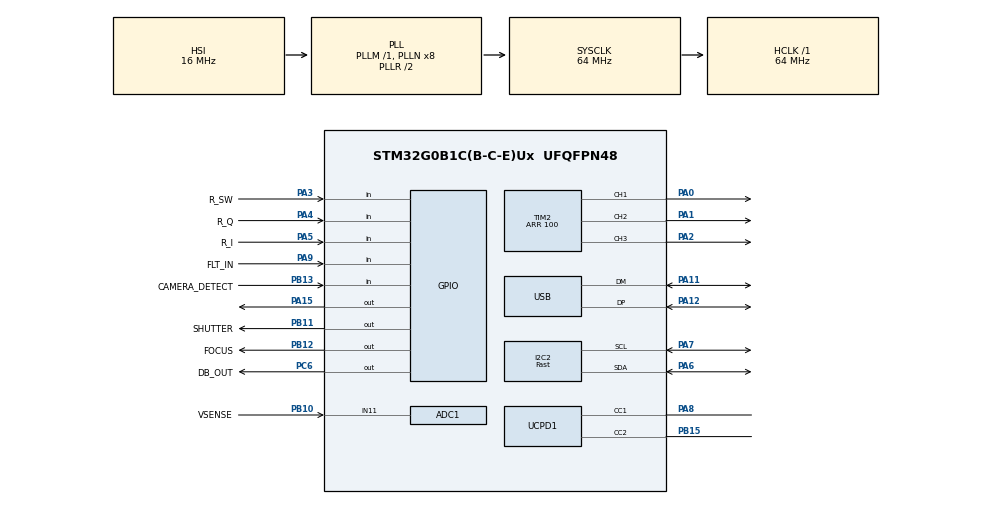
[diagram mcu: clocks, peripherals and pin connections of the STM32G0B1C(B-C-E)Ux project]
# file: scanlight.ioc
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ADC1.Channel-10\#ChannelRegularConversion=ADC_CHANNEL_11
ADC1.ClockPrescaler=ADC_CLOCK_SYNC_PCLK_DIV4
ADC1.ContinuousConvMode=ENABLE
ADC1.NbrOfConversionFlag=1
ADC1.Overrun=ADC_OVR_DATA_OVERWRITTEN
ADC1.Rank-10\#ChannelRegularConversion=1
ADC1.SamplingTime-10\#ChannelRegularConversion=ADC_SAMPLINGTIME_COMMON_1
ADC1.SamplingTimeCommon1=ADC_SAMPLETIME_160CYCLES_5
ADC1.SamplingTimeCommon2=ADC_SAMPLETIME_160CYCLES_5
ADC1.SelectedChannel=ADC_CHANNEL_11
ADC1.master=1
Dma.I2C2_TX.2.Direction=DMA_MEMORY_TO_PERIPH
Dma.I2C2_TX.2.EventEnable=DISABLE
Dma.I2C2_TX.2.Instance=DMA1_Channel3
Dma.I2C2_TX.2.MemDataAlignment=DMA_MDATAALIGN_BYTE
Dma.I2C2_TX.2.MemInc=DMA_MINC_ENABLE
Dma.I2C2_TX.2.Mode=DMA_NORMAL
Dma.I2C2_TX.2.PeriphDataAlignment=DMA_PDATAALIGN_BYTE
Dma.I2C2_TX.2.PeriphInc=DMA_PINC_DISABLE
Dma.I2C2_TX.2.Polarity=HAL_DMAMUX_REQ_GEN_RISING
Dma.I2C2_TX.2.Priority=DMA_PRIORITY_MEDIUM
Dma.I2C2_TX.2.RequestNumber=1
Dma.I2C2_TX.2.SignalID=NONE
Dma.I2C2_TX.2.SyncEnable=DISABLE
Dma.I2C2_TX.2.SyncPolarity=HAL_DMAMUX_SYNC_NO_EVENT
Dma.I2C2_TX.2.SyncRequestNumber=1
Dma.I2C2_TX.2.SyncSignalID=NONE
Dma.Request0=UCPD1_RX
Dma.Request1=UCPD1_TX
Dma.Request2=I2C2_TX
Dma.UCPD1_RX.0.Direction=DMA_PERIPH_TO_MEMORY
Dma.UCPD1_RX.0.EventEnable=DISABLE
Dma.UCPD1_RX.0.Instance=DMA1_Channel1
Dma.UCPD1_RX.0.MemDataAlignment=DMA_MDATAALIGN_BYTE
Dma.UCPD1_RX.0.MemInc=DMA_MINC_ENABLE
Dma.UCPD1_RX.0.Mode=DMA_NORMAL
Dma.UCPD1_RX.0.PeriphDataAlignment=DMA_PDATAALIGN_BYTE
Dma.UCPD1_RX.0.PeriphInc=DMA_PINC_DISABLE
Dma.UCPD1_RX.0.Polarity=HAL_DMAMUX_REQ_GEN_RISING
Dma.UCPD1_RX.0.Priority=DMA_PRIORITY_LOW
Dma.UCPD1_RX.0.RequestNumber=1
Dma.UCPD1_RX.0.SignalID=NONE
Dma.UCPD1_RX.0.SyncEnable=DISABLE
Dma.UCPD1_RX.0.SyncPolarity=HAL_DMAMUX_SYNC_NO_EVENT
Dma.UCPD1_RX.0.SyncRequestNumber=1
Dma.UCPD1_RX.0.SyncSignalID=NONE
Dma.UCPD1_TX.1.Direction=DMA_MEMORY_TO_PERIPH
Dma.UCPD1_TX.1.EventEnable=DISABLE
Dma.UCPD1_TX.1.Instance=DMA1_Channel2
Dma.UCPD1_TX.1.MemDataAlignment=DMA_MDATAALIGN_BYTE
Dma.UCPD1_TX.1.MemInc=DMA_MINC_ENABLE
Dma.UCPD1_TX.1.Mode=DMA_NORMAL
Dma.UCPD1_TX.1.PeriphDataAlignment=DMA_PDATAALIGN_BYTE
Dma.UCPD1_TX.1.PeriphInc=DMA_PINC_DISABLE
Dma.UCPD1_TX.1.Polarity=HAL_DMAMUX_REQ_GEN_RISING
Dma.UCPD1_TX.1.Priority=DMA_PRIORITY_LOW
Dma.UCPD1_TX.1.RequestNumber=1
Dma.UCPD1_TX.1.SignalID=NONE
Dma.UCPD1_TX.1.SyncEnable=DISABLE
Dma.UCPD1_TX.1.SyncPolarity=HAL_DMAMUX_SYNC_NO_EVENT
Dma.UCPD1_TX.1.SyncRequestNumber=1
Dma.UCPD1_TX.1.SyncSignalID=NONE
FREERTOS.Tasks01=defaultTask,24,128,StartDefaultTask,Default,NULL,Dynamic,NULL,NULL
FREERTOS.configTOTAL_HEAP_SIZE=7000
FREERTOS.configUSE_NEWLIB_REENTRANT=1
I2C2.I2C_Speed_Mode=I2C_Fast
I2C2.OwnAddress=0
I2C2.Timing=0x00C12166
IWDG.Prescaler=IWDG_PRESCALER_256
Mcu.Family=STM32G0
Mcu.Name=STM32G0B1C(B-C-E)Ux
Mcu.Package=UFQFPN48
Mcu.UserConstants=VDDA_APPLI,3300
NVIC.DMA1_Channel1_IRQn=true\:3\:0\:false\:false\:true\:true\:false\:true\:true
NVIC.DMA1_Channel2_3_IRQn=true\:3\:0\:false\:false\:true\:true\:false\:true\:true
NVIC.FLASH_IRQn=true\:3\:0\:false\:false\:true\:false\:true\:true\:true
NVIC.I2C2_3_IRQn=true\:3\:0\:false\:false\:true\:true\:true\:true\:true
NVIC.TIM3_TIM4_IRQn=true\:3\:0\:false\:false\:true\:false\:false\:true\:true
NVIC.TimeBase=TIM3_TIM4_IRQn
NVIC.TimeBaseIP=TIM3
NVIC.USB_UCPD1_2_IRQn=true\:3\:0\:false\:false\:true\:true\:true\:true\:true
PA0.Signal=S_TIM2_CH1_ETR
PA1.Signal=S_TIM2_CH2
PA11\ [PA9].Mode=Device
PA11\ [PA9].Signal=USB_DM
PA12\ [PA10].Mode=Device
PA12\ [PA10].Signal=USB_DP
PA13.Mode=Serial_Wire
PA13.Signal=SYS_SWDIO
PA14-BOOT0.Mode=Serial_Wire
PA14-BOOT0.Signal=SYS_SWCLK
PA15.Signal=GPIO_Output
PA2.Signal=S_TIM2_CH3
PA3.GPIO_Label=R_SW
PA3.GPIO_PuPd=GPIO_PULLUP
PA3.Signal=GPIO_Input
PA4.GPIO_Label=R_Q
PA4.GPIO_PuPd=GPIO_PULLUP
PA4.Signal=GPIO_Input
PA5.GPIO_Label=R_I
PA5.GPIO_Mode=GPIO_MODE_INPUT
PA5.GPIO_PuPd=GPIO_PULLUP
PA5.Signal=GPIO_Input
PA6.GPIO_Pu=GPIO_PULLUP
PA6.Mode=I2C
PA6.Signal=I2C2_SDA
PA7.GPIO_Pu=GPIO_PULLUP
PA7.Mode=I2C
PA7.Signal=I2C2_SCL
PA8.Mode=Sink_AllSignals
PA8.Signal=UCPD1_CC1
PA9.GPIO_Label=FLT_IN
PA9.Signal=GPIO_Input
PB10.GPIO_Label=VSENSE
PB10.Mode=IN11
PB10.Signal=ADC1_IN11
PB11.GPIO_Label=SHUTTER
PB11.Signal=GPIO_Output
PB12.GPIO_Label=FOCUS
PB12.Signal=GPIO_Output
PB13.GPIO_Label=CAMERA_DETECT
PB13.Signal=GPIO_Input
PB15.Mode=Sink_AllSignals
PB15.Signal=UCPD1_CC2
PC6.GPIO_Label=DB_OUT
PC6.PinState=GPIO_PIN_RESET
PC6.Signal=GPIO_Output
ProjectManager.HeapSize=0xC00
ProjectManager.StackSize=0x400
ProjectManager.TargetToolchain=STM32CubeIDE
RCC.ADCFreq_Value=64000000
RCC.AHBFreq_Value=64000000
RCC.CortexFreq_Value=64000000
RCC.EXTERNAL_CLOCK_VALUE=48000
RCC.HCLKFreq_Value=64000000
RCC.HSE_VALUE=8000000
RCC.HSI48_VALUE=48000000
RCC.HSI_VALUE=16000000
RCC.LSE_VALUE=32768
RCC.SYSCLKFreq_VALUE=64000000
RCC.SYSCLKSource=RCC_SYSCLKSOURCE_PLLCLK
RCC.USBFreq_Value=48000000
RCC.VCOOutputFreq_Value=128000000
SH.S_TIM2_CH1_ETR.0=TIM2_CH1,PWM Generation1 CH1
SH.S_TIM2_CH2.0=TIM2_CH2,PWM Generation2 CH2
SH.S_TIM2_CH3.0=TIM2_CH3,PWM Generation3 CH3
STMicroelectronics.X-CUBE-TCPP.4.2.0.BSP.number=3
STMicroelectronics.X-CUBE-TCPP.4.2.0.USBPDOoApplicationCcDeviceJjApplication=Sink
STMicroelectronics.X-CUBE-TCPP.4.2.0.tcpp01CcBoardOoPartJjtcpp01Jjtcpp01=true
STMicroelectronics.X-CUBE-TCPP.4.2.00.BSP.STBoard=false
STMicroelectronics.X-CUBE-TCPP.4.2.00.BSP.api=Unknown
STMicroelectronics.X-CUBE-TCPP.4.2.00.BSP.condition=( SEMtcpp01CcBoardOoPartJjtcpp01Jjtcpp01 ) & ( \! SEMXAaNUCLEOAaSNK1M1CcBoardOoSupportJjXAaNUCLEOAaSNK1M1JjCommon )
STMicroelectronics.X-CUBE-TCPP.4.2.00.BSP.instance=ADC1\:IN11
STMicroelectronics.X-CUBE-TCPP.4.2.00.BSP.ip=ADC
STMicroelectronics.X-CUBE-TCPP.4.2.00.BSP.mode=IN[0-9]+( Single-ended)?
STMicroelectronics.X-CUBE-TCPP.4.2.00.BSP.name=ADC VSENSE
STMicroelectronics.X-CUBE-TCPP.4.2.00.BSP.solution=ADC1\:IN11
STMicroelectronics.X-CUBE-TCPP.4.2.01.BSP.STBoard=false
STMicroelectronics.X-CUBE-TCPP.4.2.01.BSP.api=Unknown
STMicroelectronics.X-CUBE-TCPP.4.2.01.BSP.condition=( SEMtcpp01CcBoardOoPartJjtcpp01Jjtcpp01 ) & ( \! SEMXAaNUCLEOAaSNK1M1CcBoardOoSupportJjXAaNUCLEOAaSNK1M1JjCommon )
STMicroelectronics.X-CUBE-TCPP.4.2.01.BSP.instance=PC6
STMicroelectronics.X-CUBE-TCPP.4.2.01.BSP.ip=GPIO
STMicroelectronics.X-CUBE-TCPP.4.2.01.BSP.mode=Output
STMicroelectronics.X-CUBE-TCPP.4.2.01.BSP.name=TCPP01 DB OUT
STMicroelectronics.X-CUBE-TCPP.4.2.01.BSP.solution=PC6
STMicroelectronics.X-CUBE-TCPP.4.2.02.BSP.STBoard=false
STMicroelectronics.X-CUBE-TCPP.4.2.02.BSP.api=Unknown
STMicroelectronics.X-CUBE-TCPP.4.2.02.BSP.condition=( SEMtcpp01CcBoardOoPartJjtcpp01Jjtcpp01 ) & ( \! SEMXAaNUCLEOAaSNK1M1CcBoardOoSupportJjXAaNUCLEOAaSNK1M1JjCommon )
STMicroelectronics.X-CUBE-TCPP.4.2.02.BSP.instance=PA15
STMicroelectronics.X-CUBE-TCPP.4.2.02.BSP.ip=GPIO
STMicroelectronics.X-CUBE-TCPP.4.2.02.BSP.mode=Output
STMicroelectronics.X-CUBE-TCPP.4.2.02.BSP.name=TCPP01 VCC OUT
STMicroelectronics.X-CUBE-TCPP.4.2.02.BSP.solution=PA15
TIM2.Channel-PWM\ Generation1\ CH1=TIM_CHANNEL_1
TIM2.Channel-PWM\ Generation2\ CH2=TIM_CHANNEL_2
TIM2.Channel-PWM\ Generation3\ CH3=TIM_CHANNEL_3
TIM2.Period=100
USBPD.USBPD_PDO_FIXED_EXT_POWER_P0=VUSBPD_PDO_FIXED_EXT_POWER_NOT_SUPPORTED
USBPD.USBPD_PDO_FIXED_HIGHERCAPAB_P0=USBPD_PDO_SNK_FIXED_HIGHERCAPAB_NOT_SUPPORTED
USBPD.USBPD_PDO_FIXED_USBCOMM_P0=USBPD_PDO_FIXED_USBCOMM_SUPPORTED
USBPD.USBPD_PORT0_PDO_SNK_FIXED_SET_OP_CURRENT_0=1250
USBPD.USBPD_PORT0_PDO_SNK_FIXED_SET_VOLTAGE_0=20000
USBPD.USBPD_PORT0_PDO_SNK_NB=1
USB_DEVICE.CLASS_NAME_FS=CDC
USB_DEVICE.VirtualMode=Cdc
USB_DEVICE.VirtualModeFS=Cdc_FS
VP_CRC_VS_CRC.Mode=CRC_Activate
VP_FREERTOS_VS_CMSIS_V2.Mode=CMSIS_V2
VP_IWDG_VS_IWDG.Mode=IWDG_Activate
VP_STMicroelectronics.X-CUBE-TCPP_VS_BoardOoPartJjtcpp01_4.2.0_4.2.0.Mode=BoardOoPartJjtcpp01
VP_STMicroelectronics.X-CUBE-TCPP_VS_DeviceJjUSBPDOoApplication_4.2.0_4.2.0.Mode=DeviceJjUSBPDOoApplication
VP_SYS_VS_DBSignals.Mode=DisableDeadBatterySignals
VP_SYS_VS_tim3.Mode=TIM3
VP_TIM2_VS_ClockSourceINT.Mode=Internal
VP_USBPD_VS_PD3FULL.Mode=PD3_Full_Stack
VP_USBPD_VS_USBPD1.Mode=USBPD_P0
VP_USBPD_VS_usbpd_tim1.Mode=TIM1
VP_USBPD_VS_usbpd_usb_cohabitation.Mode=Enable USB Support
VP_USB_DEVICE_VS_USB_DEVICE_CDC_FS.Mode=CDC_FS
board=custom

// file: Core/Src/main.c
/* USER CODE BEGIN Header */
/**
 ******************************************************************************
 * @file           : main.c
 * @brief          : Main program body
 ******************************************************************************
 * @attention
 *
 * Copyright (c) 2025 STMicroelectronics.
 * All rights reserved.
 *
 * This software is licensed under terms that can be found in the LICENSE file
 * in the root directory of this software component.
 * If no LICENSE file comes with this software, it is provided AS-IS.
 *
 ******************************************************************************
 */
/* USER CODE END Header */
#include "main.h"
#include "cmsis_os.h"
#include "app_tcpp.h"
#include "usbpd.h"
#include "usb_device.h"

/* USER CODE BEGIN Includes */
#include "usbd_cdc_if.h"
#include <stdio.h>

// include custom defines before library to preserve overrides
#include "ssd1306_custom_defines.h"
#include "ssd1306.h"
#include "eeprom_emul.h"
#include "usbpd_pwr_user.h"

/* USER CODE END Includes */

/* USER CODE BEGIN PD */
#define DEBOUNCE_DELAY 2 // milliseconds
#define BUTTON_DEBOUNCE_MS 15
#define BOOTLOADER_ADDRESS 0x1FFF0000
#define BOOTLOADER_FLAG_VALUE 0xDEADBEEF
#define BOOTLOADER_BUTTON_HOLD_MS 1500U
#define USBPD_20V_LOCKOUT_ASSERT_MV 19000U
#define USBPD_20V_LOCKOUT_RELEASE_MV 19500U
#define CAMERA_DETECT_DEBOUNCE_MS 25U
#define CAMERA_DETECT_INSERTED_LEVEL GPIO_PIN_SET
#define PWM_TIMER_PERIOD 148U
#define PWM_INPUT_MAX 100U
#define LED_CTRL_MIN_MV 300U
#define LED_CTRL_MAX_MV 2500U
/* USER CODE END PD */

ADC_HandleTypeDef hadc1;

I2C_HandleTypeDef hi2c2;
DMA_HandleTypeDef hdma_i2c2_tx;

IWDG_HandleTypeDef hiwdg;

TIM_HandleTypeDef htim2;

/* Definitions for defaultTask */
osThreadId_t defaultTaskHandle;
const osThreadAttr_t defaultTask_attributes = {
  .name = "defaultTask",
  .priority = (osPriority_t) osPriorityNormal,
  .stack_size = 128 * 4
};
/* USER CODE BEGIN PV */
extern int _bflag; // boot flag
uint32_t *dfu_boot_flag;
typedef void (*pFunction)(void);
pFunction JumpToApplication;
uint32_t JumpAddress;

#define MAX_DISPLAY_TXT 20
char display_txt[MAX_DISPLAY_TXT];

// Rotary encoder vars
volatile uint8_t colors[3] = { 0, 0, 0 };
volatile uint8_t pwm[3] = { 0, 0, 0 };
/* Smallest period that provides unique PWM counts for UI 0..100 while
 * keeping 1..99 mapped across the 0.3V..2.5V analog dimming region.
 */
const uint8_t PWM_DUTY_LOOKUP[PWM_INPUT_MAX + 1] = { 0, 14, 15, 16, 17, 18, 19,
		20, 21, 22, 23, 24, 25, 26, 27, 28, 29, 30, 31, 32, 33, 34, 35, 36,
		37, 38, 39, 40, 41, 42, 43, 44, 45, 46, 47, 48, 49, 50, 51, 52, 53,
		54, 55, 56, 57, 58, 59, 60, 61, 62, 63, 64, 65, 66, 67, 68, 69, 70,
		71, 72, 73, 74, 75, 76, 77, 78, 79, 80, 81, 82, 83, 84, 85, 86, 87,
		88, 89, 90, 91, 92, 93, 94, 95, 96, 97, 98, 99, 100, 101, 102, 103,
		104, 105, 106, 107, 108, 109, 110, 111, 112, 148 };
volatile uint8_t select;
volatile uint8_t on = 0;
volatile uint8_t save_no = 0;
uint8_t pd_20v_ready = 0;
uint8_t camera_mode_active = 0;
uint8_t camera_detect_last_sample = 0;
uint32_t camera_detect_last_transition = 0;

void EncoderTask(void *argument);

osThreadId_t encoderTaskHandle;
const osThreadAttr_t encoderTask_attributes = { .name = "encoderTask",
		.priority = (osPriority_t) osPriorityNormal1, .stack_size = 256 * 4 };

// Gray code state table
const int8_t rotary_table[16] = { 0, -1, +1, 0, +1, 0, 0, -1, -1, 0, 0, +1, 0,
		+1, -1, 0 };

const uint8_t ULINE_X[5] = { 14, 56, 98, 0, 35 };
const uint8_t ULINE_Y[5] = { 10, 10, 10, 20, 20 };
const uint8_t ULINE_LEN[5] = { 21, 21, 21, 21, 28 };

// EEPROM
EE_Status ee_status = EE_OK;
uint32_t eeprom_read;
__IO uint32_t ErasingOnGoing = 0;

/* USER CODE END PV */

void SystemClock_Config(void);
static void MX_GPIO_Init(void);
static void MX_DMA_Init(void);
static void MX_ADC1_Init(void);
static void MX_I2C2_Init(void);
static void MX_TIM2_Init(void);
static void MX_UCPD1_Init(void);
static void MX_IWDG_Init(void);
static void MX_CRC_Init(void);
void StartDefaultTask(void *argument);

/* USER CODE BEGIN 0 */
/**
 * @brief  FLASH end of operation interrupt callback.
 * @param  ReturnValue: The value saved in this parameter depends on the ongoing procedure
 *                  Mass Erase: Bank number which has been requested to erase
 *                  Page Erase: Page which has been erased
 *                  Program: Address which was selected for data program
 * @retval None
 */
void HAL_FLASH_EndOfOperationCallback(uint32_t ReturnValue) {
	/* Call CleanUp callback when all requested pages have been erased */
	if ((ReturnValue == (START_PAGE + PAGES_NUMBER / 2 - 1))
			|| (ReturnValue == (START_PAGE + PAGES_NUMBER - 1))) {
		EE_EndOfCleanup_UserCallback();
	}
}

/**
 * @brief  Clean Up end of operation interrupt callback.
 * @param  None
 * @retval None
 */
void EE_EndOfCleanup_UserCallback(void) {
	ErasingOnGoing = 0;
}

void InitDisplay(void) {
	ssd1306_Init();
	ssd1306_FlipScreenVertically();
	ssd1306_Clear();
	ssd1306_SetColor(White);
	ssd1306_UpdateScreen();
	HAL_Delay(10);
}

uint8_t bootloaderButtonHeldAtStartup(void) {
	uint32_t start_tick;

	if (HAL_GPIO_ReadPin(R_SW_GPIO_Port, R_SW_Pin) != GPIO_PIN_RESET) {
		return 0U;
	}

	start_tick = HAL_GetTick();
	while ((HAL_GetTick() - start_tick) < BOOTLOADER_BUTTON_HOLD_MS) {
		if (HAL_GPIO_ReadPin(R_SW_GPIO_Port, R_SW_Pin) != GPIO_PIN_RESET) {
			return 0U;
		}
	}

	return 1U;
}

void Bootloader_RequestReset(void) {
	*dfu_boot_flag = BOOTLOADER_FLAG_VALUE;
	__DSB();
	__ISB();
	HAL_NVIC_SystemReset();
	while (1) {
	}
}

void JumpToBootloader(void) {
	/* Wait any cleanup is completed before accessing flash again */
	while (ErasingOnGoing == 1) {
	}

	Bootloader_RequestReset();
}
// Overwrite printf for USB CDC
int _write(int file, char *ptr, int len) {
	CDC_Transmit_FS((uint8_t*) ptr, len);
	return len;
}

void USB_ProcessReceivedData(uint8_t *Buf, uint32_t Len) {
	CDC_Transmit_FS(Buf, Len); 	// echo input
	// check for boot flag 'b'
	for (uint32_t i = 0; i < Len; ++i) {
		if (Buf[i] == 0x62) { // `b`
			JumpToBootloader();
		}
	}
}

void refreshPDPowerState(void) {
	uint32_t vbus_mv = 0;
	if (BSP_ERROR_NONE == BSP_USBPD_PWR_VBUSGetVoltage(USBPD_PORT_0, &vbus_mv)) {
		if (pd_20v_ready == 0U) {
			pd_20v_ready =
					(vbus_mv >= USBPD_20V_LOCKOUT_RELEASE_MV) ? 1U : 0U;
		} else {
			pd_20v_ready =
					(vbus_mv >= USBPD_20V_LOCKOUT_ASSERT_MV) ? 1U : 0U;
		}
	} else {
		pd_20v_ready = 0U;
	}
}

uint8_t readCameraDetectState(void) {
	return (HAL_GPIO_ReadPin(CAMERA_DETECT_GPIO_Port, CAMERA_DETECT_Pin)
			== CAMERA_DETECT_INSERTED_LEVEL) ? 1U : 0U;
}

void refreshCameraModeState(void) {
	uint8_t sample = readCameraDetectState();
	uint32_t now = osKernelGetTickCount();

	if (sample != camera_detect_last_sample) {
		camera_detect_last_sample = sample;
		camera_detect_last_transition = now;
	}

	if ((camera_mode_active != camera_detect_last_sample)
			&& ((now - camera_detect_last_transition)
					>= CAMERA_DETECT_DEBOUNCE_MS)) {
		camera_mode_active = camera_detect_last_sample;
		if (camera_mode_active == 0U) {
			HAL_GPIO_WritePin(SHUTTER_GPIO_Port, SHUTTER_Pin, GPIO_PIN_RESET);
			HAL_GPIO_WritePin(FOCUS_GPIO_Port, FOCUS_Pin, GPIO_PIN_RESET);
		}
	}
}

uint8_t mapColorToPwmDuty(uint8_t color) {
	uint8_t idx = (color > PWM_INPUT_MAX) ? PWM_INPUT_MAX : color;
	return PWM_DUTY_LOOKUP[idx];
}

void voltageTooLow(void) {
	snprintf(display_txt, MAX_DISPLAY_TXT, "Need 20V USB-PD");
	ssd1306_SetCursor(0, 21);
	ssd1306_WriteString(display_txt, Font_7x10);
}

void displayEepromIssue() {
	snprintf(display_txt, MAX_DISPLAY_TXT, "EEPROM %i", ee_status);
	ssd1306_SetCursor(0, 12);
	ssd1306_WriteString(display_txt, Font_7x10);
	ssd1306_UpdateScreen();
}

void updateScreen() {
	ssd1306_Clear();
	snprintf(display_txt, MAX_DISPLAY_TXT, "R:%03u G:%03u B:%03u", colors[0],
			colors[1], colors[2]);
	ssd1306_SetCursor(0, 0);
	ssd1306_WriteString(display_txt, Font_7x10);
	if (save_no == 0) {
		snprintf(display_txt, MAX_DISPLAY_TXT, "%s  Save",
				on ? "ON " : "OFF");
	} else {
		snprintf(display_txt, MAX_DISPLAY_TXT, "%s  %s %u",
				on ? "ON " : "OFF",
				(save_no % 2 == 0) ? "Save" : "Read", (save_no + 1) / 2);
	}
	ssd1306_SetCursor(0, 11);
	ssd1306_WriteString(display_txt, Font_7x10);
	if (pd_20v_ready == 0U) {
		voltageTooLow();
	} else {
		snprintf(display_txt, MAX_DISPLAY_TXT, "PD OK  CAM:%s",
				camera_mode_active ? "ON" : "OFF");
		ssd1306_SetCursor(0, 21);
		ssd1306_WriteString(display_txt, Font_7x10);
	}
	ssd1306_DrawHorizontalLine(ULINE_X[select], ULINE_Y[select],
			ULINE_LEN[select]);
	ssd1306_UpdateScreen();
}

void EE_Read_Color(uint8_t address) {
	if (address > NB_OF_VARIABLES) {
		return;
	}
	/* Wait any cleanup is completed before accessing flash again */
	while (ErasingOnGoing == 1) {
	}
	ee_status = EE_ReadVariable32bits(address, &eeprom_read);
	if ((ee_status & EE_STATUSMASK_CLEANUP ) == EE_STATUSMASK_CLEANUP) {
		ErasingOnGoing = 1;
		ee_status |= EE_CleanUp();
	}
	if ((ee_status & EE_STATUSMASK_ERROR ) == EE_STATUSMASK_ERROR) {
		displayEepromIssue();
	}
	colors[0] = eeprom_read >> 0;
	colors[1] = eeprom_read >> 8;
	colors[2] = eeprom_read >> 16;
}

void EE_Write_Color(uint8_t address) {
	/* Wait any cleanup is completed before accessing flash again */
	while (ErasingOnGoing == 1) {
	}
	eeprom_read = colors[0] | colors[1] << 8 | colors[2] << 16;
	ee_status = EE_WriteVariable32bits(address, eeprom_read);
	if ((ee_status & EE_STATUSMASK_CLEANUP ) == EE_STATUSMASK_CLEANUP) {
		ErasingOnGoing = 1;
		ee_status |= EE_CleanUp();
	}
	if ((ee_status & EE_STATUSMASK_ERROR ) == EE_STATUSMASK_ERROR) {
		Error_Handler();
	}
}

void EncoderTask(void *argument) {
	uint8_t prev_IQ = ((HAL_GPIO_ReadPin(R_I_GPIO_Port, R_I_Pin) << 1)
			| HAL_GPIO_ReadPin(R_Q_GPIO_Port, R_Q_Pin));
	// for debounce button
	uint8_t lastBtn = HAL_GPIO_ReadPin(R_SW_GPIO_Port, R_SW_Pin);
	uint8_t btnStableState = lastBtn;
	uint32_t btnChangedTime = 0;
	uint8_t currBtn;

	// for rotary fsm
	uint8_t curr_I, curr_Q, curr_IQ;
	uint8_t index;
	int8_t delta = 0;

	for (;;) {
		// rotary FSM
		curr_I = HAL_GPIO_ReadPin(R_I_GPIO_Port, R_I_Pin);
		curr_Q = HAL_GPIO_ReadPin(R_Q_GPIO_Port, R_Q_Pin);
		curr_IQ = (curr_I << 1) | curr_Q;

		index = prev_IQ << 2 | curr_IQ;
		delta += rotary_table[index];

		if (rotary_table[index] != 0) {
			prev_IQ = curr_IQ;
		}

		if (delta >= 4) {
			// only add 1 if under 100
			if (select == 3) {
				on = 1;
			} else if (select == 4) {
				save_no += save_no > NB_OF_VARIABLES * 2 ? 0 : 1;
			} else if (colors[select] < 100) {
				++colors[select];
			}
			delta -= 4;
			//printf("Rot -1\n");
		} else if (delta <= -4) {
			// only subtract 1 if over 0
			if (select == 3) {
				on = 0;
			} else if (select == 4) {
				save_no -= save_no > 0 ? 1 : 0;
			} else if (colors[select] > 0) {
				--colors[select];
			}
			delta += 4;
			//printf("Rot +1\n");
		}

		// Button debounce
		currBtn = HAL_GPIO_ReadPin(R_SW_GPIO_Port, R_SW_Pin);
		if (currBtn != lastBtn) { // button state changed, restart debounce timer
			btnChangedTime = osKernelGetTickCount();
			lastBtn = currBtn;
		} else {
			// button state stable check if it's held long enough
			if (currBtn
					!= btnStableState&& (osKernelGetTickCount() - btnChangedTime) >= BUTTON_DEBOUNCE_MS) {
				btnStableState = currBtn;
				if (btnStableState == 0) {
					//button has been stable pressed
					if (select == 4 && save_no > 0) {
						if (save_no % 2 == 0) {
							EE_Write_Color((save_no + 1) / 2);
						} else {
							EE_Read_Color((save_no + 1) / 2);
						}
						save_no = 0;
					}
					select = (select + 1) % 5;
				}
			}
		}

		osDelay(DEBOUNCE_DELAY); // 2ms polling
	}
}

/* USER CODE END 0 */

int main(void)
{

  /* USER CODE BEGIN 1 */
	dfu_boot_flag = (uint32_t*) (&_bflag); // set in linker script
	if (*dfu_boot_flag == BOOTLOADER_FLAG_VALUE) {
		uint32_t bootloader_sp = *(__IO uint32_t*) BOOTLOADER_ADDRESS;
		*dfu_boot_flag = 0; // so next boot won't be affected
		/* Jump to system memory bootloader */
		JumpAddress = *(__IO uint32_t*) (BOOTLOADER_ADDRESS + 4U);
		JumpToApplication = (pFunction) JumpAddress;
		__disable_irq();
		__set_MSP(bootloader_sp);
		JumpToApplication();
		while (1) {
		}
	}
	*dfu_boot_flag = 0; // So next boot won't be affected

  /* USER CODE END 1 */

  /* MCU Configuration--------------------------------------------------------*/

  /* Reset of all peripherals, Initializes the Flash interface and the Systick. */
  HAL_Init();

  /* Configure the system clock */
  SystemClock_Config();

  /* USER CODE BEGIN SysInit */
	/* Enable and set FLASH Interrupt priority */
	/* FLASH interrupt is used for the purpose of pages clean up under interrupt */
	HAL_NVIC_SetPriority(FLASH_IRQn, 0, 0);
	HAL_NVIC_EnableIRQ(FLASH_IRQn);

	/* Unlock the Flash Program Erase controller */
	HAL_FLASH_Unlock();
	/* Activate NMI generation when two errors are detected */
	__HAL_FLASH_ENABLE_IT(FLASH_IT_ECCC);

  /* USER CODE END SysInit */

  /* Initialize all configured peripherals */
  MX_GPIO_Init();
  if (bootloaderButtonHeldAtStartup() != 0U) {
	  Bootloader_RequestReset();
  }
  MX_DMA_Init();
  MX_ADC1_Init();
  MX_I2C2_Init();
  MX_TIM2_Init();
  MX_UCPD1_Init();
  MX_IWDG_Init();
  MX_CRC_Init();
  /* USER CODE BEGIN 2 */
	InitDisplay();
	ee_status = EE_Init(EE_FORCED_ERASE);
	if (ee_status != EE_OK) {
		displayEepromIssue();
	} else {
		EE_Read_Color(1);
	}

  /* USER CODE END 2 */

  /* Init scheduler */
  osKernelInitialize();
  /* USBPD initialisation ---------------------------------*/
  MX_USBPD_Init();
  MX_TCPP_Init();

  /* Create the thread(s) */
  /* creation of defaultTask */
  defaultTaskHandle = osThreadNew(StartDefaultTask, NULL, &defaultTask_attributes);

  /* USER CODE BEGIN RTOS_THREADS */
	encoderTaskHandle = osThreadNew(EncoderTask, NULL, &encoderTask_attributes);

	/* add threads, ... */
  /* USER CODE END RTOS_THREADS */

  /* Start scheduler */
  osKernelStart();

  /* We should never get here as control is now taken by the scheduler */

  /* Infinite loop */
	while (1) {

	}
}

void SystemClock_Config(void)
{
  RCC_OscInitTypeDef RCC_OscInitStruct = {0};
  RCC_ClkInitTypeDef RCC_ClkInitStruct = {0};

  /** Configure the main internal regulator output voltage
  */
  HAL_PWREx_ControlVoltageScaling(PWR_REGULATOR_VOLTAGE_SCALE1);

  /** Initializes the RCC Oscillators according to the specified parameters
  * in the RCC_OscInitTypeDef structure.
  */
  RCC_OscInitStruct.OscillatorType = RCC_OSCILLATORTYPE_HSI|RCC_OSCILLATORTYPE_LSI
                              |RCC_OSCILLATORTYPE_HSI48;
  RCC_OscInitStruct.HSIState = RCC_HSI_ON;
  RCC_OscInitStruct.HSI48State = RCC_HSI48_ON;
  RCC_OscInitStruct.HSIDiv = RCC_HSI_DIV1;
  RCC_OscInitStruct.HSICalibrationValue = RCC_HSICALIBRATION_DEFAULT;
  RCC_OscInitStruct.LSIState = RCC_LSI_ON;
  RCC_OscInitStruct.PLL.PLLState = RCC_PLL_ON;
  RCC_OscInitStruct.PLL.PLLSource = RCC_PLLSOURCE_HSI;
  RCC_OscInitStruct.PLL.PLLM = RCC_PLLM_DIV1;
  RCC_OscInitStruct.PLL.PLLN = 8;
  RCC_OscInitStruct.PLL.PLLP = RCC_PLLP_DIV2;
  RCC_OscInitStruct.PLL.PLLQ = RCC_PLLQ_DIV2;
  RCC_OscInitStruct.PLL.PLLR = RCC_PLLR_DIV2;
  if (HAL_RCC_OscConfig(&RCC_OscInitStruct) != HAL_OK)
  {
    Error_Handler();
  }

  /** Initializes the CPU, AHB and APB buses clocks
  */
  RCC_ClkInitStruct.ClockType = RCC_CLOCKTYPE_HCLK|RCC_CLOCKTYPE_SYSCLK
                              |RCC_CLOCKTYPE_PCLK1;
  RCC_ClkInitStruct.SYSCLKSource = RCC_SYSCLKSOURCE_PLLCLK;
  RCC_ClkInitStruct.AHBCLKDivider = RCC_SYSCLK_DIV1;
  RCC_ClkInitStruct.APB1CLKDivider = RCC_HCLK_DIV1;

  if (HAL_RCC_ClockConfig(&RCC_ClkInitStruct, FLASH_LATENCY_2) != HAL_OK)
  {
    Error_Handler();
  }
}

static void MX_ADC1_Init(void)
{

  ADC_ChannelConfTypeDef sConfig = {0};

  /** Configure the global features of the ADC (Clock, Resolution, Data Alignment and number of conversion)
  */
  hadc1.Instance = ADC1;
  hadc1.Init.ClockPrescaler = ADC_CLOCK_SYNC_PCLK_DIV4;
  hadc1.Init.Resolution = ADC_RESOLUTION_12B;
  hadc1.Init.DataAlign = ADC_DATAALIGN_RIGHT;
  hadc1.Init.ScanConvMode = ADC_SCAN_DISABLE;
  hadc1.Init.EOCSelection = ADC_EOC_SINGLE_CONV;
  hadc1.Init.LowPowerAutoWait = DISABLE;
  hadc1.Init.LowPowerAutoPowerOff = DISABLE;
  hadc1.Init.ContinuousConvMode = ENABLE;
  hadc1.Init.NbrOfConversion = 1;
  hadc1.Init.ExternalTrigConv = ADC_SOFTWARE_START;
  hadc1.Init.ExternalTrigConvEdge = ADC_EXTERNALTRIGCONVEDGE_NONE;
  hadc1.Init.DMAContinuousRequests = DISABLE;
  hadc1.Init.Overrun = ADC_OVR_DATA_OVERWRITTEN;
  hadc1.Init.SamplingTimeCommon1 = ADC_SAMPLETIME_160CYCLES_5;
  hadc1.Init.SamplingTimeCommon2 = ADC_SAMPLETIME_160CYCLES_5;
  hadc1.Init.OversamplingMode = DISABLE;
  hadc1.Init.TriggerFrequencyMode = ADC_TRIGGER_FREQ_HIGH;
  if (HAL_ADC_Init(&hadc1) != HAL_OK)
  {
    Error_Handler();
  }

  /** Configure Regular Channel
  */
  sConfig.Channel = ADC_CHANNEL_11;
  sConfig.Rank = ADC_REGULAR_RANK_1;
  sConfig.SamplingTime = ADC_SAMPLINGTIME_COMMON_1;
  if (HAL_ADC_ConfigChannel(&hadc1, &sConfig) != HAL_OK)
  {
    Error_Handler();
  }

}

static void MX_CRC_Init(void)
{

  /* Peripheral clock enable */
  LL_AHB1_GRP1_EnableClock(LL_AHB1_GRP1_PERIPH_CRC);

  LL_CRC_SetInputDataReverseMode(CRC, LL_CRC_INDATA_REVERSE_NONE);
  LL_CRC_SetOutputDataReverseMode(CRC, LL_CRC_OUTDATA_REVERSE_NONE);
  LL_CRC_SetPolynomialCoef(CRC, LL_CRC_DEFAULT_CRC32_POLY);
  LL_CRC_SetPolynomialSize(CRC, LL_CRC_POLYLENGTH_32B);
  LL_CRC_SetInitialData(CRC, LL_CRC_DEFAULT_CRC_INITVALUE);

}

static void MX_I2C2_Init(void)
{

  hi2c2.Instance = I2C2;
  hi2c2.Init.Timing = 0x00C12166;
  hi2c2.Init.OwnAddress1 = 0;
  hi2c2.Init.AddressingMode = I2C_ADDRESSINGMODE_7BIT;
  hi2c2.Init.DualAddressMode = I2C_DUALADDRESS_DISABLE;
  hi2c2.Init.OwnAddress2 = 0;
  hi2c2.Init.OwnAddress2Masks = I2C_OA2_NOMASK;
  hi2c2.Init.GeneralCallMode = I2C_GENERALCALL_DISABLE;
  hi2c2.Init.NoStretchMode = I2C_NOSTRETCH_DISABLE;
  if (HAL_I2C_Init(&hi2c2) != HAL_OK)
  {
    Error_Handler();
  }

  /** Configure Analogue filter
  */
  if (HAL_I2CEx_ConfigAnalogFilter(&hi2c2, I2C_ANALOGFILTER_ENABLE) != HAL_OK)
  {
    Error_Handler();
  }

  /** Configure Digital filter
  */
  if (HAL_I2CEx_ConfigDigitalFilter(&hi2c2, 0) != HAL_OK)
  {
    Error_Handler();
  }

}

static void MX_IWDG_Init(void)
{

  hiwdg.Instance = IWDG;
  hiwdg.Init.Prescaler = IWDG_PRESCALER_256;
  hiwdg.Init.Window = 4095;
  hiwdg.Init.Reload = 4095;
  if (HAL_IWDG_Init(&hiwdg) != HAL_OK)
  {
    Error_Handler();
  }

}

static void MX_TIM2_Init(void)
{

  /* USER CODE BEGIN TIM2_Init 0 */
	__HAL_RCC_TIM2_CLK_ENABLE();

  /* USER CODE END TIM2_Init 0 */

  TIM_ClockConfigTypeDef sClockSourceConfig = {0};
  TIM_MasterConfigTypeDef sMasterConfig = {0};
  TIM_OC_InitTypeDef sConfigOC = {0};

  htim2.Instance = TIM2;
  htim2.Init.Prescaler = 0;
  htim2.Init.CounterMode = TIM_COUNTERMODE_UP;
  htim2.Init.Period = PWM_TIMER_PERIOD;
  htim2.Init.ClockDivision = TIM_CLOCKDIVISION_DIV1;
  htim2.Init.AutoReloadPreload = TIM_AUTORELOAD_PRELOAD_DISABLE;
  if (HAL_TIM_Base_Init(&htim2) != HAL_OK)
  {
    Error_Handler();
  }
  sClockSourceConfig.ClockSource = TIM_CLOCKSOURCE_INTERNAL;
  if (HAL_TIM_ConfigClockSource(&htim2, &sClockSourceConfig) != HAL_OK)
  {
    Error_Handler();
  }
  if (HAL_TIM_PWM_Init(&htim2) != HAL_OK)
  {
    Error_Handler();
  }
  sMasterConfig.MasterOutputTrigger = TIM_TRGO_RESET;
  sMasterConfig.MasterSlaveMode = TIM_MASTERSLAVEMODE_DISABLE;
  if (HAL_TIMEx_MasterConfigSynchronization(&htim2, &sMasterConfig) != HAL_OK)
  {
    Error_Handler();
  }
  sConfigOC.OCMode = TIM_OCMODE_PWM1;
  sConfigOC.Pulse = 0;
  sConfigOC.OCPolarity = TIM_OCPOLARITY_HIGH;
  sConfigOC.OCFastMode = TIM_OCFAST_DISABLE;
  if (HAL_TIM_PWM_ConfigChannel(&htim2, &sConfigOC, TIM_CHANNEL_1) != HAL_OK)
  {
    Error_Handler();
  }
  if (HAL_TIM_PWM_ConfigChannel(&htim2, &sConfigOC, TIM_CHANNEL_2) != HAL_OK)
  {
    Error_Handler();
  }
  if (HAL_TIM_PWM_ConfigChannel(&htim2, &sConfigOC, TIM_CHANNEL_3) != HAL_OK)
  {
    Error_Handler();
  }
  HAL_TIM_MspPostInit(&htim2);

}

static void MX_UCPD1_Init(void)
{

  LL_GPIO_InitTypeDef GPIO_InitStruct = {0};

  /* Peripheral clock enable */
  LL_APB1_GRP1_EnableClock(LL_APB1_GRP1_PERIPH_UCPD1);

  LL_IOP_GRP1_EnableClock(LL_IOP_GRP1_PERIPH_GPIOB);
  LL_IOP_GRP1_EnableClock(LL_IOP_GRP1_PERIPH_GPIOA);
  /**UCPD1 GPIO Configuration
  PB15   ------> UCPD1_CC2
  PA8   ------> UCPD1_CC1
  */
  GPIO_InitStruct.Pin = LL_GPIO_PIN_15;
  GPIO_InitStruct.Mode = LL_GPIO_MODE_ANALOG;
  GPIO_InitStruct.Pull = LL_GPIO_PULL_NO;
  LL_GPIO_Init(GPIOB, &GPIO_InitStruct);

  GPIO_InitStruct.Pin = LL_GPIO_PIN_8;
  GPIO_InitStruct.Mode = LL_GPIO_MODE_ANALOG;
  GPIO_InitStruct.Pull = LL_GPIO_PULL_NO;
  LL_GPIO_Init(GPIOA, &GPIO_InitStruct);

  /* UCPD1 DMA Init */

  /* UCPD1_RX Init */
  LL_DMA_SetPeriphRequest(DMA1, LL_DMA_CHANNEL_1, LL_DMAMUX_REQ_UCPD1_RX);

  LL_DMA_SetDataTransferDirection(DMA1, LL_DMA_CHANNEL_1, LL_DMA_DIRECTION_PERIPH_TO_MEMORY);

  LL_DMA_SetChannelPriorityLevel(DMA1, LL_DMA_CHANNEL_1, LL_DMA_PRIORITY_LOW);

  LL_DMA_SetMode(DMA1, LL_DMA_CHANNEL_1, LL_DMA_MODE_NORMAL);

  LL_DMA_SetPeriphIncMode(DMA1, LL_DMA_CHANNEL_1, LL_DMA_PERIPH_NOINCREMENT);

  LL_DMA_SetMemoryIncMode(DMA1, LL_DMA_CHANNEL_1, LL_DMA_MEMORY_INCREMENT);

  LL_DMA_SetPeriphSize(DMA1, LL_DMA_CHANNEL_1, LL_DMA_PDATAALIGN_BYTE);

  LL_DMA_SetMemorySize(DMA1, LL_DMA_CHANNEL_1, LL_DMA_MDATAALIGN_BYTE);

  /* UCPD1_TX Init */
  LL_DMA_SetPeriphRequest(DMA1, LL_DMA_CHANNEL_2, LL_DMAMUX_REQ_UCPD1_TX);

  LL_DMA_SetDataTransferDirection(DMA1, LL_DMA_CHANNEL_2, LL_DMA_DIRECTION_MEMORY_TO_PERIPH);

  LL_DMA_SetChannelPriorityLevel(DMA1, LL_DMA_CHANNEL_2, LL_DMA_PRIORITY_LOW);

  LL_DMA_SetMode(DMA1, LL_DMA_CHANNEL_2, LL_DMA_MODE_NORMAL);

  LL_DMA_SetPeriphIncMode(DMA1, LL_DMA_CHANNEL_2, LL_DMA_PERIPH_NOINCREMENT);

  LL_DMA_SetMemoryIncMode(DMA1, LL_DMA_CHANNEL_2, LL_DMA_MEMORY_INCREMENT);

  LL_DMA_SetPeriphSize(DMA1, LL_DMA_CHANNEL_2, LL_DMA_PDATAALIGN_BYTE);

  LL_DMA_SetMemorySize(DMA1, LL_DMA_CHANNEL_2, LL_DMA_MDATAALIGN_BYTE);

  /* UCPD1 interrupt Init */
  NVIC_SetPriority(USB_UCPD1_2_IRQn, 3);
  NVIC_EnableIRQ(USB_UCPD1_2_IRQn);

}

static void MX_DMA_Init(void)
{

  /* DMA controller clock enable */
  __HAL_RCC_DMA1_CLK_ENABLE();

  /* DMA interrupt init */
  /* DMA1_Channel1_IRQn interrupt configuration */
  NVIC_SetPriority(DMA1_Channel1_IRQn, 3);
  NVIC_EnableIRQ(DMA1_Channel1_IRQn);
  /* DMA1_Channel2_3_IRQn interrupt configuration */
  HAL_NVIC_SetPriority(DMA1_Channel2_3_IRQn, 3, 0);
  HAL_NVIC_EnableIRQ(DMA1_Channel2_3_IRQn);

}

static void MX_GPIO_Init(void)
{
  GPIO_InitTypeDef GPIO_InitStruct = {0};

  /* GPIO Ports Clock Enable */
  __HAL_RCC_GPIOA_CLK_ENABLE();
  __HAL_RCC_GPIOB_CLK_ENABLE();
  __HAL_RCC_GPIOC_CLK_ENABLE();

  /*Configure GPIO pin Output Level */
  HAL_GPIO_WritePin(GPIOB, SHUTTER_Pin|FOCUS_Pin, GPIO_PIN_RESET);

  /*Configure GPIO pin Output Level */
  HAL_GPIO_WritePin(DB_OUT_GPIO_Port, DB_OUT_Pin, GPIO_PIN_RESET);

  /*Configure GPIO pin Output Level */
  HAL_GPIO_WritePin(GPIOA, GPIO_PIN_15, GPIO_PIN_RESET);

  /*Configure GPIO pins : R_SW_Pin R_Q_Pin R_I_Pin */
  GPIO_InitStruct.Pin = R_SW_Pin|R_Q_Pin|R_I_Pin;
  GPIO_InitStruct.Mode = GPIO_MODE_INPUT;
  GPIO_InitStruct.Pull = GPIO_PULLUP;
  HAL_GPIO_Init(GPIOA, &GPIO_InitStruct);

  /*Configure GPIO pins : SHUTTER_Pin FOCUS_Pin */
  GPIO_InitStruct.Pin = SHUTTER_Pin|FOCUS_Pin;
  GPIO_InitStruct.Mode = GPIO_MODE_OUTPUT_PP;
  GPIO_InitStruct.Pull = GPIO_NOPULL;
  GPIO_InitStruct.Speed = GPIO_SPEED_FREQ_LOW;
  HAL_GPIO_Init(GPIOB, &GPIO_InitStruct);

  /*Configure GPIO pin : CAMERA_DETECT_Pin */
  GPIO_InitStruct.Pin = CAMERA_DETECT_Pin;
  GPIO_InitStruct.Mode = GPIO_MODE_INPUT;
  GPIO_InitStruct.Pull = GPIO_NOPULL;
  HAL_GPIO_Init(CAMERA_DETECT_GPIO_Port, &GPIO_InitStruct);

  /*Configure GPIO pin : FLT_IN_Pin */
  GPIO_InitStruct.Pin = FLT_IN_Pin;
  GPIO_InitStruct.Mode = GPIO_MODE_INPUT;
  GPIO_InitStruct.Pull = GPIO_NOPULL;
  HAL_GPIO_Init(FLT_IN_GPIO_Port, &GPIO_InitStruct);

  /*Configure GPIO pin : DB_OUT_Pin */
  GPIO_InitStruct.Pin = DB_OUT_Pin;
  GPIO_InitStruct.Mode = GPIO_MODE_OUTPUT_PP;
  GPIO_InitStruct.Pull = GPIO_NOPULL;
  GPIO_InitStruct.Speed = GPIO_SPEED_FREQ_LOW;
  HAL_GPIO_Init(DB_OUT_GPIO_Port, &GPIO_InitStruct);

  /*Configure GPIO pin : PA15 */
  GPIO_InitStruct.Pin = GPIO_PIN_15;
  GPIO_InitStruct.Mode = GPIO_MODE_OUTPUT_PP;
  GPIO_InitStruct.Pull = GPIO_NOPULL;
  GPIO_InitStruct.Speed = GPIO_SPEED_FREQ_LOW;
  HAL_GPIO_Init(GPIOA, &GPIO_InitStruct);

  /* USER CODE BEGIN MX_GPIO_Init_2 */
	GPIO_InitStruct.Pin = PWM_R_Pin | PWM_G_Pin | PWM_B_Pin;
	GPIO_InitStruct.Mode = GPIO_MODE_AF_PP;
	GPIO_InitStruct.Pull = GPIO_NOPULL;
	GPIO_InitStruct.Speed = GPIO_SPEED_FREQ_HIGH;
	GPIO_InitStruct.Alternate = GPIO_AF2_TIM2;
	HAL_GPIO_Init(DB_OUT_GPIO_Port, &GPIO_InitStruct);

	GPIO_InitStruct.Pin = SDA_Pin | SCL_Pin;
	GPIO_InitStruct.Mode = GPIO_MODE_AF_OD;
	GPIO_InitStruct.Pull = GPIO_PULLUP;
	GPIO_InitStruct.Speed = GPIO_SPEED_FREQ_LOW;
	GPIO_InitStruct.Alternate = GPIO_AF8_I2C2;
	HAL_GPIO_Init(SDA_Port, &GPIO_InitStruct);

  /* USER CODE END MX_GPIO_Init_2 */
}

/* USER CODE BEGIN 4 */
// restart into the bootloader by setting the correct option bytes and then trigger reset
/* USER CODE BEGIN 4 */

/* USER CODE END 4 */

void StartDefaultTask(void *argument)
{
  /* init code for USB_Device */
  MX_USB_Device_Init();
  /* USER CODE BEGIN 5 */
	HAL_TIM_PWM_Start(&htim2, TIM_CHANNEL_1);
	HAL_TIM_PWM_Start(&htim2, TIM_CHANNEL_2);
	HAL_TIM_PWM_Start(&htim2, TIM_CHANNEL_3);
	TIM2->ARR = PWM_TIMER_PERIOD;
	TIM2->CCR1 = 0;
	TIM2->CCR2 = 0;
	TIM2->CCR3 = 0;
	camera_detect_last_sample = readCameraDetectState();
	camera_mode_active = camera_detect_last_sample;
	camera_detect_last_transition = osKernelGetTickCount();
	/* Infinite loop */

	for (;;) {
		uint8_t leds_can_run;
		HAL_IWDG_Refresh(&hiwdg);
		refreshPDPowerState();
		refreshCameraModeState();
		updateScreen();
		leds_can_run = (on != 0U) && (pd_20v_ready != 0U);
		pwm[0] = leds_can_run ? mapColorToPwmDuty(colors[0]) : 0U;
		pwm[1] = leds_can_run ? mapColorToPwmDuty(colors[1]) : 0U;
		pwm[2] = leds_can_run ? mapColorToPwmDuty(colors[2]) : 0U;
		TIM2->CCR1 = pwm[0];
		TIM2->CCR2 = pwm[1];
		TIM2->CCR3 = pwm[2];
		osDelay(100);
	}
  /* USER CODE END 5 */
}

void HAL_TIM_PeriodElapsedCallback(TIM_HandleTypeDef *htim)
{
  if (htim->Instance == TIM3)
  {
    HAL_IncTick();
  }
}

void Error_Handler(void)
{
	__disable_irq();
	while (1) {
	}
}
